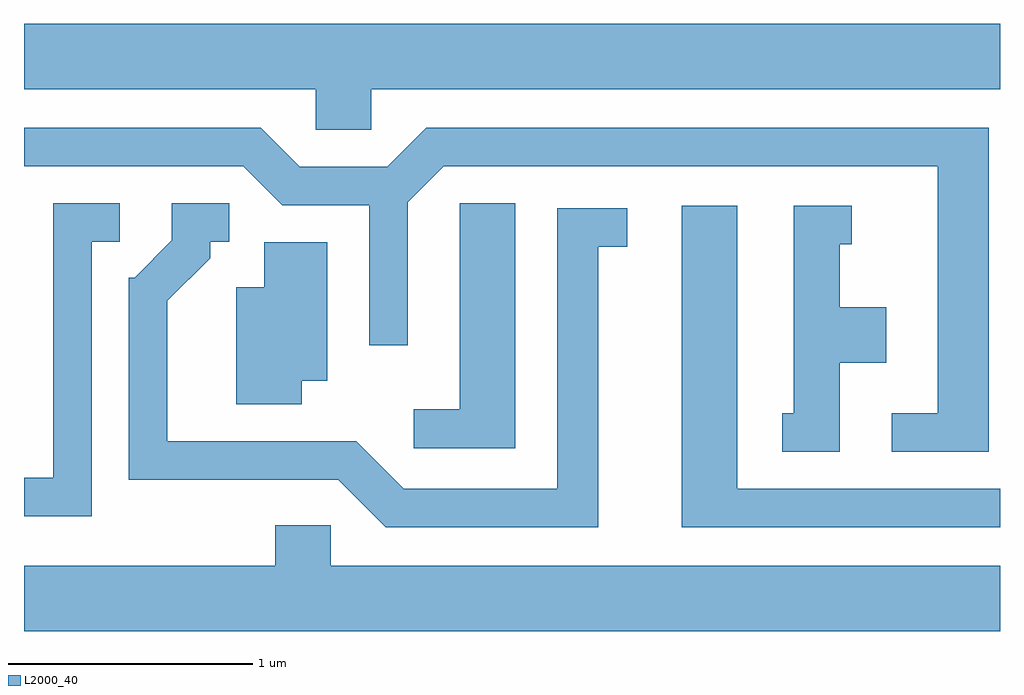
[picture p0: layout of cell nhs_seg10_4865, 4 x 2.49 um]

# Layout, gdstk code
import gdstk
lib = gdstk.Library(unit=1e-6, precision=1e-09)
def P(c, l, *ps):  # polygons
    for p in ps: c.add(gdstk.Polygon(p, *l))
L2000_40 = (2000, 40)

nhs_seg10_4865 = lib.new_cell('nhs_seg10_4865')
P(nhs_seg10_4865, L2000_40, [(329.034,2196.056),(331.611,2196.056),(331.611,2196.324),(327.611,2196.324),(327.611,2196.056),(328.806,2196.056),(328.806,2195.891),(329.034,2195.891)],
  [(331.564,2195.899),(329.259,2195.899),(329.099,2195.739),(328.742,2195.739),(328.582,2195.899),(327.611,2195.899),(327.611,2195.741),(328.509,2195.741),(328.669,2195.581),(329.026,2195.581),(329.026,2195.008),(329.184,2195.008),(329.184,2195.594),(329.332,2195.741),(331.356,2195.741),(331.356,2194.729),(331.168,2194.729),(331.168,2194.571),(331.564,2194.571)],
  [(327.889,2195.431),(328.003,2195.431),(328.003,2195.589),(327.731,2195.589),(327.731,2194.464),(327.611,2194.464),(327.611,2194.306),(327.889,2194.306)],
  [(329.964,2195.411),(330.083,2195.411),(330.083,2195.569),(329.796,2195.569),(329.796,2194.419),(329.167,2194.419),(328.972,2194.614),(328.199,2194.614),(328.199,2195.189),(328.374,2195.364),(328.374,2195.431),(328.453,2195.431),(328.453,2195.589),(328.216,2195.589),(328.216,2195.437),(328.064,2195.284),(328.041,2195.284),(328.041,2194.456),(328.899,2194.456),(329.094,2194.261),(329.964,2194.261)],
  [(329.624,2195.589),(329.396,2195.589),(329.396,2194.744),(329.208,2194.744),(329.208,2194.586),(329.624,2194.586)],
  [(331.611,2194.419),(330.534,2194.419),(330.534,2195.579),(330.306,2195.579),(330.306,2194.261),(331.611,2194.261)],
  [(330.954,2194.936),(331.144,2194.936),(331.144,2195.164),(330.954,2195.164),(330.954,2195.421),(331.003,2195.421),(331.003,2195.579),(330.766,2195.579),(330.766,2194.729),(330.718,2194.729),(330.718,2194.571),(330.954,2194.571)],
  [(328.749,2194.861),(328.854,2194.861),(328.854,2195.429),(328.596,2195.429),(328.596,2195.244),(328.481,2195.244),(328.481,2194.766),(328.749,2194.766)],
  [(331.611,2194.104),(328.869,2194.104),(328.869,2194.269),(328.641,2194.269),(328.641,2194.104),(327.611,2194.104),(327.611,2193.836),(331.611,2193.836)])

lib.write_gds('nhs_seg10_4865.gds')
